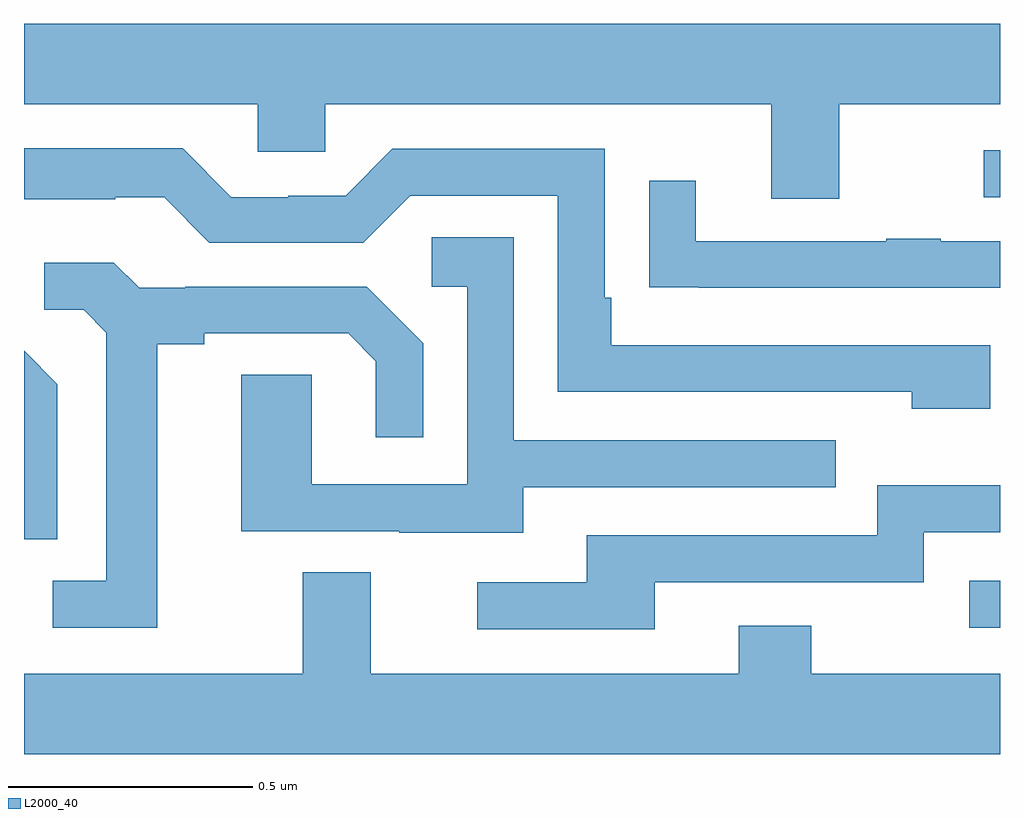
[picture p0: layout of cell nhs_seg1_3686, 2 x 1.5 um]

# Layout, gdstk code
import gdstk
lib = gdstk.Library(unit=1e-6, precision=1e-09)
def R(c, l, rs):  # rectangles x0, y0, x1, y1
    for r in rs: c.add(gdstk.rectangle(r[:2], r[2:], *l))
def P(c, l, *ps):  # polygons
    for p in ps: c.add(gdstk.Polygon(p, *l))
L2000_40 = (2000, 40)

nhs_seg1_3686 = lib.new_cell('nhs_seg1_3686')
R(nhs_seg1_3686, L2000_40, [(158.937,526.683,159,526.779), (158.967,527.565,159,527.661)])
P(nhs_seg1_3686, L2000_40, [(158.671,527.756),(159,527.756),(159,527.92),(157,527.92),(157,527.756),(157.479,527.756),(157.479,527.658),(157.617,527.658),(157.617,527.756),(158.531,527.756),(158.531,527.562),(158.671,527.562)],
  [(158.98,527.262),(158.203,527.262),(158.203,527.359),(158.19,527.359),(158.19,527.664),(157.755,527.664),(157.659,527.568),(157.541,527.568),(157.541,527.565),(157.425,527.565),(157.325,527.665),(157,527.665),(157,527.561),(157.187,527.561),(157.187,527.565),(157.287,527.565),(157.38,527.472),(157.695,527.472),(157.791,527.568),(158.094,527.568),(158.094,527.166),(158.819,527.166),(158.819,527.132),(158.98,527.132)],
  [(159,527.475),(158.879,527.475),(158.879,527.48),(158.767,527.48),(158.767,527.475),(158.377,527.475),(158.377,527.599),(158.281,527.599),(158.281,527.38),(158.383,527.38),(158.383,527.379),(159,527.379)],
  [(158.023,526.971),(158.663,526.971),(158.663,527.067),(158.004,527.067),(158.004,527.483),(157.836,527.483),(157.836,527.382),(157.908,527.382),(157.908,526.977),(157.59,526.977),(157.59,527.201),(157.445,527.201),(157.445,526.881),(157.769,526.881),(157.769,526.877),(158.023,526.877)],
  [(157.273,527.264),(157.369,527.264),(157.369,527.286),(157.664,527.286),(157.721,527.229),(157.721,527.073),(157.818,527.073),(157.818,527.266),(157.702,527.382),(157.33,527.382),(157.33,527.379),(157.236,527.379),(157.184,527.431),(157.041,527.431),(157.041,527.334),(157.122,527.334),(157.169,527.287),(157.169,526.779),(157.059,526.779),(157.059,526.683),(157.273,526.683)],
  [(157.068,527.182),(157,527.25),(157,526.864),(157.068,526.864)],
  [(158.293,526.776),(158.844,526.776),(158.844,526.878),(159,526.878),(159,526.975),(158.748,526.975),(158.748,526.872),(158.153,526.872),(158.153,526.776),(157.929,526.776),(157.929,526.68),(158.293,526.68)],
  [(159,526.588),(158.613,526.588),(158.613,526.687),(158.465,526.687),(158.465,526.588),(157.711,526.588),(157.711,526.796),(157.571,526.796),(157.571,526.588),(157,526.588),(157,526.424),(159,526.424)])

lib.write_gds('nhs_seg1_3686.gds')
